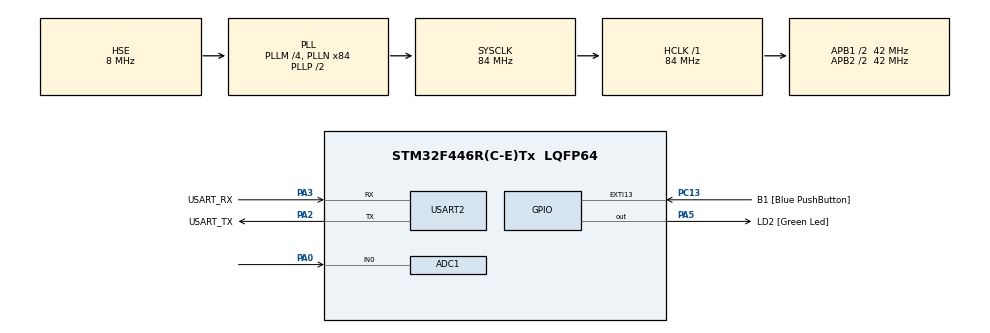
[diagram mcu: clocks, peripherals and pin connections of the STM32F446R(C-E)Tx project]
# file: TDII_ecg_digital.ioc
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ADC1.Channel-0\#ChannelRegularConversion=ADC_CHANNEL_0
ADC1.DMAContinuousRequests=ENABLE
ADC1.ExternalTrigConv=ADC_EXTERNALTRIGCONV_T3_TRGO
ADC1.NbrOfConversionFlag=1
ADC1.Rank-0\#ChannelRegularConversion=1
ADC1.SamplingTime-0\#ChannelRegularConversion=ADC_SAMPLETIME_3CYCLES
ADC1.master=1
Dma.ADC1.0.Direction=DMA_PERIPH_TO_MEMORY
Dma.ADC1.0.FIFOMode=DMA_FIFOMODE_DISABLE
Dma.ADC1.0.Instance=DMA2_Stream0
Dma.ADC1.0.MemDataAlignment=DMA_MDATAALIGN_HALFWORD
Dma.ADC1.0.MemInc=DMA_MINC_ENABLE
Dma.ADC1.0.Mode=DMA_CIRCULAR
Dma.ADC1.0.PeriphDataAlignment=DMA_PDATAALIGN_HALFWORD
Dma.ADC1.0.PeriphInc=DMA_PINC_DISABLE
Dma.ADC1.0.Priority=DMA_PRIORITY_LOW
Dma.Request0=ADC1
FREERTOS.Tasks01=defaultTask,24,128,StartDefaultTask,Default,NULL,Dynamic,NULL,NULL
Mcu.Family=STM32F4
Mcu.Name=STM32F446R(C-E)Tx
Mcu.Package=LQFP64
NVIC.DMA2_Stream0_IRQn=true\:5\:0\:false\:false\:true\:true\:false\:true\:true
NVIC.PriorityGroup=NVIC_PRIORITYGROUP_4
NVIC.TIM4_IRQn=true\:15\:0\:false\:false\:true\:false\:false\:true\:true
NVIC.TimeBase=TIM4_IRQn
NVIC.TimeBaseIP=TIM4
PA0-WKUP.Signal=ADCx_IN0
PA13.GPIO_Label=TMS
PA13.Mode=Serial_Wire
PA13.Signal=SYS_JTMS-SWDIO
PA14.GPIO_Label=TCK
PA14.Mode=Serial_Wire
PA14.Signal=SYS_JTCK-SWCLK
PA2.GPIO_Label=USART_TX
PA2.Mode=Asynchronous
PA2.Signal=USART2_TX
PA3.GPIO_Label=USART_RX
PA3.Mode=Asynchronous
PA3.Signal=USART2_RX
PA5.GPIO_Label=LD2 [Green Led]
PA5.Signal=GPIO_Output
PB3.GPIO_Label=SWO
PB3.Signal=SYS_JTDO-SWO
PC13.GPIO_Label=B1 [Blue PushButton]
PC13.GPIO_ModeDefaultEXTI=GPIO_MODE_IT_FALLING
PC13.Signal=GPXTI13
PC14-OSC32_IN.Signal=RCC_OSC32_IN
PC15-OSC32_OUT.Signal=RCC_OSC32_OUT
PH0-OSC_IN.Mode=HSE-External-Clock-Source
PH0-OSC_IN.Signal=RCC_OSC_IN
PH1-OSC_OUT.Mode=HSE-External-Clock-Source
PH1-OSC_OUT.Signal=RCC_OSC_OUT
ProjectManager.HeapSize=0x2000
ProjectManager.StackSize=0x400
ProjectManager.TargetToolchain=STM32CubeIDE
RCC.48MHZClocksFreq_Value=84000000
RCC.AHBFreq_Value=84000000
RCC.APB1CLKDivider=RCC_HCLK_DIV2
RCC.APB1Freq_Value=42000000
RCC.APB1TimFreq_Value=84000000
RCC.APB2CLKDivider=RCC_HCLK_DIV2
RCC.APB2Freq_Value=42000000
RCC.APB2TimFreq_Value=84000000
RCC.CortexFreq_Value=84000000
RCC.FLatency-AdvancedSettings=FLASH_LATENCY_2
RCC.HCLKFreq_Value=84000000
RCC.HSE_VALUE=8000000
RCC.HSI_VALUE=16000000
RCC.PLLM=4
RCC.PLLN=84
RCC.PLLSourceVirtual=RCC_PLLSOURCE_HSE
RCC.SYSCLKFreq_VALUE=84000000
RCC.SYSCLKSource=RCC_SYSCLKSOURCE_PLLCLK
RCC.USBFreq_Value=84000000
RCC.VCOOutputFreq_Value=168000000
SH.ADCx_IN0.0=ADC1_IN0,IN0
TIM3.Period=39
TIM3.Prescaler=8399
TIM3.TIM_MasterOutputTrigger=TIM_TRGO_UPDATE
USART2.VirtualMode=VM_ASYNC
VP_FREERTOS_VS_CMSIS_V2.Mode=CMSIS_V2
VP_SYS_VS_tim4.Mode=TIM4
VP_TIM3_VS_ClockSourceINT.Mode=Internal
board=NUCLEO-F446RE

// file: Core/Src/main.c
/* USER CODE BEGIN Header */
/**
  ******************************************************************************
  * @file           : main.c
  * @brief          : Main program body
  ******************************************************************************
  * @attention
  *
  * Copyright (c) 2026 STMicroelectronics.
  * All rights reserved.
  *
  * This software is licensed under terms that can be found in the LICENSE file
  * in the root directory of this software component.
  * If no LICENSE file comes with this software, it is provided AS-IS.
  *
  ******************************************************************************
  */
/* USER CODE END Header */
#include "main.h"
#include "cmsis_os.h"

/* USER CODE BEGIN Includes */
#include "FreeRTOS.h"
#include "task.h"
#include <stdio.h>
#include <string.h>
#include "arm_math.h"
/* USER CODE END Includes */

/* USER CODE BEGIN PD */
#define ADC_BUFFER_SIZE   100
#define HALF_BUFFER_SIZE  (ADC_BUFFER_SIZE / 2)
/* USER CODE END PD */

ADC_HandleTypeDef hadc1;
DMA_HandleTypeDef hdma_adc1;

TIM_HandleTypeDef htim3;

UART_HandleTypeDef huart2;

/* Definitions for defaultTask */
osThreadId_t defaultTaskHandle;
const osThreadAttr_t defaultTask_attributes = {
  .name = "defaultTask",
  .stack_size = 128 * 4,
  .priority = (osPriority_t) osPriorityNormal,
};
/* USER CODE BEGIN PV */
uint16_t adc_buffer[ADC_BUFFER_SIZE];

static TaskHandle_t xTask_DSP_Handle = NULL;

/* Instancias de los filtros CMSIS-DSP */
arm_biquad_casd_df1_inst_f32 notch_filter;
float32_t notch_state[4];
/* 50Hz Notch, Q=30, Fs=250Hz */
float32_t notch_coeffs[5] = { 0.979483f, -0.605354f, 0.979483f, 0.605354f, -0.958966f };

arm_biquad_casd_df1_inst_f32 hp_filter;
float32_t hp_state[4];
/* 0.5Hz High-Pass, Butterworth 2nd order, Fs=250Hz */
float32_t hp_coeffs[5] = { 0.991154f, -1.982307f, 0.991154f, 1.982229f, -0.982385f };

arm_biquad_casd_df1_inst_f32 lp_filter;
float32_t lp_state[4];
/* 40Hz Low-Pass, Butterworth 2nd order, Fs=250Hz */
float32_t lp_coeffs[5] = { 0.145324f, 0.290648f, 0.145324f, 0.671029f, -0.252325f };

/* Buffers para procesar los datos en formato float */
float32_t dsp_in[HALF_BUFFER_SIZE];
float32_t dsp_out[HALF_BUFFER_SIZE];
/* USER CODE END PV */

void SystemClock_Config(void);
static void MX_GPIO_Init(void);
static void MX_DMA_Init(void);
static void MX_USART2_UART_Init(void);
static void MX_ADC1_Init(void);
static void MX_TIM3_Init(void);
void StartDefaultTask(void *argument);

/* USER CODE BEGIN PFP */
void vTask_DSP(void *pvParameters);
/* USER CODE END PFP */

/* USER CODE BEGIN 0 */

/* ---- Redireccion de printf a UART2 ---- */
int _write(int file, char *ptr, int len)
{
  /* Transmite un bloque de caracteres por UART2 */
  HAL_UART_Transmit(&huart2, (uint8_t *)ptr, len, HAL_MAX_DELAY);
  return len;
}

/* ---- Callbacks del DMA (contexto ISR) ---- */

/**
 * @brief  Primera mitad del buffer llena (posiciones 0..49).
 *         Notifica a vTask_DSP con valor 0 (indica primera mitad).
 */
void HAL_ADC_ConvHalfCpltCallback(ADC_HandleTypeDef *hadc)
{
  BaseType_t xHigherPriorityTaskWoken = pdFALSE;

  if (xTask_DSP_Handle != NULL)
  {
    /* Enviamos valor de notificacion = 0 -> primera mitad */
    xTaskNotifyFromISR(xTask_DSP_Handle, 0, eSetValueWithOverwrite,
                       &xHigherPriorityTaskWoken);
    portYIELD_FROM_ISR(xHigherPriorityTaskWoken);
  }
}

/**
 * @brief  Segunda mitad del buffer llena (posiciones 50..99).
 *         Notifica a vTask_DSP con valor 1 (indica segunda mitad).
 */
void HAL_ADC_ConvCpltCallback(ADC_HandleTypeDef *hadc)
{
  BaseType_t xHigherPriorityTaskWoken = pdFALSE;

  if (xTask_DSP_Handle != NULL)
  {
    /* Enviamos valor de notificacion = 1 -> segunda mitad */
    xTaskNotifyFromISR(xTask_DSP_Handle, 1, eSetValueWithOverwrite,
                       &xHigherPriorityTaskWoken);
    portYIELD_FROM_ISR(xHigherPriorityTaskWoken);
  }
}

/* ---- Tarea de procesamiento DSP ---- */

/**
 * @brief  Tarea que espera la notificacion del DMA, toma la mitad
 *         correspondiente del buffer y envia los valores por UART2.
 */
void vTask_DSP(void *pvParameters)
{
  uint32_t ulNotificationValue;
  uint16_t *pData;

  /* Inicializar los filtros Biquad Direct Form I */
  /* El "1" indica que es 1 etapa (2do orden) */
  arm_biquad_cascade_df1_init_f32(&notch_filter, 1, notch_coeffs, notch_state);
  arm_biquad_cascade_df1_init_f32(&hp_filter, 1, hp_coeffs, hp_state);
  arm_biquad_cascade_df1_init_f32(&lp_filter, 1, lp_coeffs, lp_state);

  for (;;)
  {
    /* Bloquearse hasta recibir notificacion del DMA */
    xTaskNotifyWait(0x00,              /* No limpiar bits al entrar       */
                    0xFFFFFFFF,         /* Limpiar todos los bits al salir */
                    &ulNotificationValue,
                    portMAX_DELAY);     /* Esperar indefinidamente         */

    /* Seleccionar la mitad del buffer segun la notificacion */
    if (ulNotificationValue == 0)
    {
      pData = &adc_buffer[0];            /* Primera mitad: 0..49  */
    }
    else
    {
      pData = &adc_buffer[HALF_BUFFER_SIZE]; /* Segunda mitad: 50..99 */
    }

    /* 1. Convertir uint16 a float32_t para el procesamiento */
    for (uint16_t i = 0; i < HALF_BUFFER_SIZE; i++)
    {
      dsp_in[i] = (float32_t)pData[i];
    }

    /* 2. Aplicar los filtros en cascada */
    /* Primero el Notch de 50Hz */
    arm_biquad_cascade_df1_f32(&notch_filter, dsp_in, dsp_out, HALF_BUFFER_SIZE);

    /* Luego el High-Pass para quitar el deambuleo de la linea base */
    arm_biquad_cascade_df1_f32(&hp_filter, dsp_out, dsp_in, HALF_BUFFER_SIZE);

    /* Por ultimo el Low-Pass para suavizar el ruido */
    arm_biquad_cascade_df1_f32(&lp_filter, dsp_in, dsp_out, HALF_BUFFER_SIZE);

    /* 3. Enviar los valores ya filtrados por UART2 (formato Serial Plotter) */
    for (uint16_t i = 0; i < HALF_BUFFER_SIZE; i++)
    {
      int val = (int)dsp_out[i];
      printf("%d\r\n", val);
    }
  }
}

/* USER CODE END 0 */

int main(void)
{

  /* MCU Configuration--------------------------------------------------------*/

  /* Reset of all peripherals, Initializes the Flash interface and the Systick. */
  HAL_Init();

  /* Configure the system clock */
  SystemClock_Config();

  /* Initialize all configured peripherals */
  MX_GPIO_Init();
  MX_DMA_Init();
  MX_USART2_UART_Init();
  MX_ADC1_Init();
  MX_TIM3_Init();
  /* USER CODE BEGIN 2 */

  /* Arrancar ADC con DMA en modo circular (antes del scheduler) */
  HAL_ADC_Start_DMA(&hadc1, (uint32_t *)adc_buffer, ADC_BUFFER_SIZE);

  /* Arrancar TIM3 para disparar las conversiones del ADC */
  HAL_TIM_Base_Start(&htim3);

  /* USER CODE END 2 */

  /* Init scheduler */
  osKernelInitialize();

  /* Create the thread(s) */
  /* creation of defaultTask */
  defaultTaskHandle = osThreadNew(StartDefaultTask, NULL, &defaultTask_attributes);

  /* USER CODE BEGIN RTOS_THREADS */
  /* Crear la tarea DSP con API nativa de FreeRTOS */
  xTaskCreate(vTask_DSP,        /* Funcion de la tarea              */
              "Task_DSP",       /* Nombre (debug)                   */
              256,              /* Stack size (words) = 1024 bytes  */
              NULL,             /* Parametro                        */
              osPriorityAboveNormal, /* Prioridad por encima de normal */
              &xTask_DSP_Handle /* Handle para notificaciones       */
              );
  /* USER CODE END RTOS_THREADS */

  /* Start scheduler */
  osKernelStart();

  /* We should never get here as control is now taken by the scheduler */

  /* Infinite loop */
  /* USER CODE BEGIN WHILE */
  /* Si vTaskStartScheduler() retorna, es por falta de heap */
  while (1)
  {
    /* USER CODE END WHILE */

  }
}

void SystemClock_Config(void)
{
  RCC_OscInitTypeDef RCC_OscInitStruct = {0};
  RCC_ClkInitTypeDef RCC_ClkInitStruct = {0};

  /** Configure the main internal regulator output voltage
  */
  __HAL_RCC_PWR_CLK_ENABLE();
  __HAL_PWR_VOLTAGESCALING_CONFIG(PWR_REGULATOR_VOLTAGE_SCALE3);

  /** Initializes the RCC Oscillators according to the specified parameters
  * in the RCC_OscInitTypeDef structure.
  */
  RCC_OscInitStruct.OscillatorType = RCC_OSCILLATORTYPE_HSE;
  RCC_OscInitStruct.HSEState = RCC_HSE_BYPASS;
  RCC_OscInitStruct.PLL.PLLState = RCC_PLL_ON;
  RCC_OscInitStruct.PLL.PLLSource = RCC_PLLSOURCE_HSE;
  RCC_OscInitStruct.PLL.PLLM = 4;
  RCC_OscInitStruct.PLL.PLLN = 84;
  RCC_OscInitStruct.PLL.PLLP = RCC_PLLP_DIV2;
  RCC_OscInitStruct.PLL.PLLQ = 2;
  RCC_OscInitStruct.PLL.PLLR = 2;
  if (HAL_RCC_OscConfig(&RCC_OscInitStruct) != HAL_OK)
  {
    Error_Handler();
  }

  /** Initializes the CPU, AHB and APB buses clocks
  */
  RCC_ClkInitStruct.ClockType = RCC_CLOCKTYPE_HCLK|RCC_CLOCKTYPE_SYSCLK
                              |RCC_CLOCKTYPE_PCLK1|RCC_CLOCKTYPE_PCLK2;
  RCC_ClkInitStruct.SYSCLKSource = RCC_SYSCLKSOURCE_PLLCLK;
  RCC_ClkInitStruct.AHBCLKDivider = RCC_SYSCLK_DIV1;
  RCC_ClkInitStruct.APB1CLKDivider = RCC_HCLK_DIV2;
  RCC_ClkInitStruct.APB2CLKDivider = RCC_HCLK_DIV2;

  if (HAL_RCC_ClockConfig(&RCC_ClkInitStruct, FLASH_LATENCY_2) != HAL_OK)
  {
    Error_Handler();
  }
}

static void MX_ADC1_Init(void)
{

  ADC_ChannelConfTypeDef sConfig = {0};

  /** Configure the global features of the ADC (Clock, Resolution, Data Alignment and number of conversion)
  */
  hadc1.Instance = ADC1;
  hadc1.Init.ClockPrescaler = ADC_CLOCK_SYNC_PCLK_DIV2;
  hadc1.Init.Resolution = ADC_RESOLUTION_12B;
  hadc1.Init.ScanConvMode = DISABLE;
  hadc1.Init.ContinuousConvMode = DISABLE;
  hadc1.Init.DiscontinuousConvMode = DISABLE;
  hadc1.Init.ExternalTrigConvEdge = ADC_EXTERNALTRIGCONVEDGE_RISING;
  hadc1.Init.ExternalTrigConv = ADC_EXTERNALTRIGCONV_T3_TRGO;
  hadc1.Init.DataAlign = ADC_DATAALIGN_RIGHT;
  hadc1.Init.NbrOfConversion = 1;
  hadc1.Init.DMAContinuousRequests = ENABLE;
  hadc1.Init.EOCSelection = ADC_EOC_SINGLE_CONV;
  if (HAL_ADC_Init(&hadc1) != HAL_OK)
  {
    Error_Handler();
  }

  /** Configure for the selected ADC regular channel its corresponding rank in the sequencer and its sample time.
  */
  sConfig.Channel = ADC_CHANNEL_0;
  sConfig.Rank = 1;
  sConfig.SamplingTime = ADC_SAMPLETIME_3CYCLES;
  if (HAL_ADC_ConfigChannel(&hadc1, &sConfig) != HAL_OK)
  {
    Error_Handler();
  }

}

static void MX_TIM3_Init(void)
{

  TIM_ClockConfigTypeDef sClockSourceConfig = {0};
  TIM_MasterConfigTypeDef sMasterConfig = {0};

  htim3.Instance = TIM3;
  htim3.Init.Prescaler = 8399;
  htim3.Init.CounterMode = TIM_COUNTERMODE_UP;
  htim3.Init.Period = 39;
  htim3.Init.ClockDivision = TIM_CLOCKDIVISION_DIV1;
  htim3.Init.AutoReloadPreload = TIM_AUTORELOAD_PRELOAD_DISABLE;
  if (HAL_TIM_Base_Init(&htim3) != HAL_OK)
  {
    Error_Handler();
  }
  sClockSourceConfig.ClockSource = TIM_CLOCKSOURCE_INTERNAL;
  if (HAL_TIM_ConfigClockSource(&htim3, &sClockSourceConfig) != HAL_OK)
  {
    Error_Handler();
  }
  sMasterConfig.MasterOutputTrigger = TIM_TRGO_UPDATE;
  sMasterConfig.MasterSlaveMode = TIM_MASTERSLAVEMODE_DISABLE;
  if (HAL_TIMEx_MasterConfigSynchronization(&htim3, &sMasterConfig) != HAL_OK)
  {
    Error_Handler();
  }

}

static void MX_USART2_UART_Init(void)
{

  huart2.Instance = USART2;
  huart2.Init.BaudRate = 115200;
  huart2.Init.WordLength = UART_WORDLENGTH_8B;
  huart2.Init.StopBits = UART_STOPBITS_1;
  huart2.Init.Parity = UART_PARITY_NONE;
  huart2.Init.Mode = UART_MODE_TX_RX;
  huart2.Init.HwFlowCtl = UART_HWCONTROL_NONE;
  huart2.Init.OverSampling = UART_OVERSAMPLING_16;
  if (HAL_UART_Init(&huart2) != HAL_OK)
  {
    Error_Handler();
  }

}

static void MX_DMA_Init(void)
{

  /* DMA controller clock enable */
  __HAL_RCC_DMA2_CLK_ENABLE();

  /* DMA interrupt init */
  /* DMA2_Stream0_IRQn interrupt configuration */
  HAL_NVIC_SetPriority(DMA2_Stream0_IRQn, 5, 0);
  HAL_NVIC_EnableIRQ(DMA2_Stream0_IRQn);

}

static void MX_GPIO_Init(void)
{
  GPIO_InitTypeDef GPIO_InitStruct = {0};

  /* GPIO Ports Clock Enable */
  __HAL_RCC_GPIOC_CLK_ENABLE();
  __HAL_RCC_GPIOH_CLK_ENABLE();
  __HAL_RCC_GPIOA_CLK_ENABLE();
  __HAL_RCC_GPIOB_CLK_ENABLE();

  /*Configure GPIO pin Output Level */
  HAL_GPIO_WritePin(LD2_GPIO_Port, LD2_Pin, GPIO_PIN_RESET);

  /*Configure GPIO pin : B1_Pin */
  GPIO_InitStruct.Pin = B1_Pin;
  GPIO_InitStruct.Mode = GPIO_MODE_IT_FALLING;
  GPIO_InitStruct.Pull = GPIO_NOPULL;
  HAL_GPIO_Init(B1_GPIO_Port, &GPIO_InitStruct);

  /*Configure GPIO pin : LD2_Pin */
  GPIO_InitStruct.Pin = LD2_Pin;
  GPIO_InitStruct.Mode = GPIO_MODE_OUTPUT_PP;
  GPIO_InitStruct.Pull = GPIO_NOPULL;
  GPIO_InitStruct.Speed = GPIO_SPEED_FREQ_LOW;
  HAL_GPIO_Init(LD2_GPIO_Port, &GPIO_InitStruct);

}

void StartDefaultTask(void *argument)
{
  for(;;)
  {
    osDelay(1);
  }
}

void HAL_TIM_PeriodElapsedCallback(TIM_HandleTypeDef *htim)
{
  if (htim->Instance == TIM4)
  {
    HAL_IncTick();
  }
}

void Error_Handler(void)
{
  __disable_irq();
  while (1)
  {
  }
}
